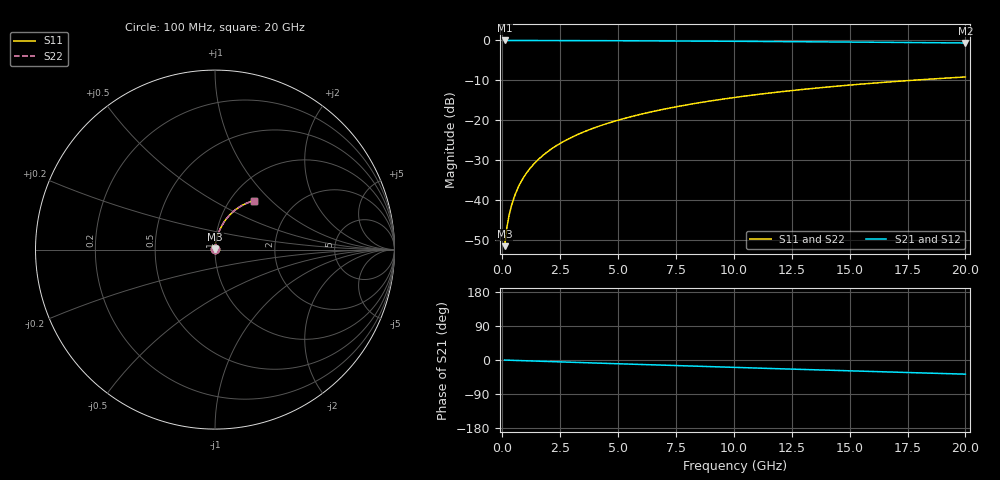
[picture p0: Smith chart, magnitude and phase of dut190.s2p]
! Touchstone file exported from HFSS 2026.1.0
!  File:  C:/ffzhzh/LocalFiles/Ansys_Project_Files/temp_train_BSMRDL_190_1782987487_41620.aedt
!  Generated:  06:20:23 PM Jul  2, 2026
!  Design:  BSMRDL
!  Project:  temp_train_BSMRDL_190_1782987487_41620
! Variables:
!  h_bsmrdl = 5.86um
!  h_ox = 20um
!  h_rdl = 5um
!  h_sub = 80um
!  h_tmrdl = 5um
!  h_tsv = 80um
!  h_via = 3um
!  l_bsmrdl = 532.69um
!  l_sub = 932.69um
!  l_tmrdl = 200um
!  m_sub = 200um
!  pitch = 57.37um
!  r_tsv = 6um
!  s_tmrdl = 10um
!  w_bsmrdl = 24.49um
!  w_sub = 500um
!  w_tmrdl = 12um
!  x_tsv_center1 = 206um
!  x_tsv_center2 = 763.18um
!  x_tsv_center3 = 975.18um
!  x_tsv_center4 = 1532.36um
!  x_tsv_center5 = 1744.36um
!  x_tsv_center6 = 2301.54um
# GHz S MA R 50.000000
! Terminal data exported
! Port[1] = BSM_RDL1_1_T1
! Port[2] = BSM_RDL1_1_T2
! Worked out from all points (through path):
!   200 points, 100 MHz to 20 GHz, reference 50 ohm
!   highest |S21| = -0.01 dB at 100 MHz (marker M1); lowest = -0.6 dB at 20 GHz (marker M2)
!   group delay of S21, straight-line fit = 5.19 ps
!   lowest |S11| = -51.5 dB at 100 MHz (marker M3), VSWR 1.01, Z = 50.1 + j0.222 ohm
!   |S11| at or under -10 dB: start of sweep to 17.65 GHz
!   |S22| runs from -51.5 to -9.1 dB; largest |S21 - S12| = 2.7e-15
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0.1  0.002671 56.2  0.9985 -0.2  0.9985 -0.2  0.002671 56.2
! Gamma 0 0 0 0
! Port Impedance 50 0 50 0
0.2  0.004619 69.5  0.9984 -0.4  0.9984 -0.4  0.004619 69.5
0.3  0.00662 74.9  0.9983 -0.6  0.9983 -0.6  0.00662 74.9
0.4  0.008646 77.8  0.9983 -0.8  0.9983 -0.8  0.008646 77.8
0.5  0.01069 79.6  0.9982 -1.0  0.9982 -1.0  0.01069 79.6
0.7  0.0148 81.5  0.9981 -1.4  0.9981 -1.4  0.0148 81.5
0.8  0.01686 82.0  0.998 -1.6  0.998 -1.6  0.01686 82.0
1  0.02098 82.7  0.9978 -2.0  0.9978 -2.0  0.02098 82.7
1.2  0.0251 82.9  0.9976 -2.4  0.9976 -2.4  0.0251 82.9
1.4  0.0292 82.9  0.9974 -2.8  0.9974 -2.8  0.0292 82.9
1.7  0.03534 82.8  0.997 -3.4  0.997 -3.4  0.03534 82.8
2  0.04144 82.5  0.9966 -4.0  0.9966 -4.0  0.04144 82.5
2.7  0.05552 81.5  0.9954 -5.4  0.9954 -5.4  0.05552 81.5
3.5  0.07137 80.2  0.9939 -7.0  0.9939 -7.0  0.07137 80.2
4.2  0.08506 79.0  0.9924 -8.4  0.9924 -8.4  0.08506 79.0
5  0.1005 77.6  0.9905 -9.9  0.9905 -9.9  0.1005 77.6
6.8  0.1347 74.4  0.9857 -13.4  0.9857 -13.4  0.1347 74.4
8.3  0.1624 71.7  0.981 -16.2  0.981 -16.2  0.1624 71.7
10.1  0.1947 68.5  0.9746 -19.6  0.9746 -19.6  0.1947 68.5
13.4  0.2508 62.7  0.961 -25.7  0.961 -25.7  0.2508 62.7
16.7  0.3023 56.9  0.9455 -31.6  0.9455 -31.6  0.3023 56.9
20  0.3489 51.4  0.9291 -37.3  0.9291 -37.3  0.349 51.3
